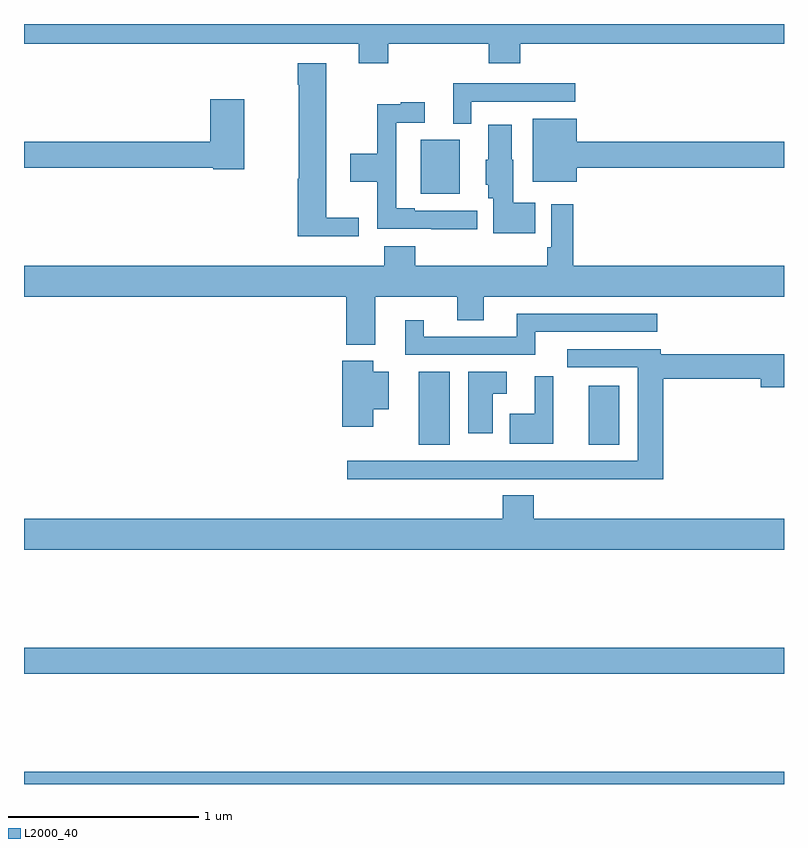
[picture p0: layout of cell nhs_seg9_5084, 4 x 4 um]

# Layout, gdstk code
import gdstk
lib = gdstk.Library(unit=1e-6, precision=1e-09)
def R(c, l, rs):  # rectangles x0, y0, x1, y1
    for r in rs: c.add(gdstk.rectangle(r[:2], r[2:], *l))
def P(c, l, *ps):  # polygons
    for p in ps: c.add(gdstk.Polygon(p, *l))
L2000_40 = (2000, 40)

nhs_seg9_5084 = lib.new_cell('nhs_seg9_5084')
R(nhs_seg9_5084, L2000_40, [(405,1216.5,409,1216.564), (405,1217.08,409,1217.216), (407.078,1218.286,407.242,1218.67), (407.972,1218.286,408.133,1218.595), (407.087,1219.607,407.293,1219.891)])
P(nhs_seg9_5084, L2000_40, [(406.916,1220.396),(407.447,1220.396),(407.447,1220.294),(407.612,1220.294),(407.612,1220.396),(409,1220.396),(409,1220.5),(405,1220.5),(405,1220.396),(406.763,1220.396),(406.763,1220.294),(406.916,1220.294)],
  [(406.762,1219.481),(406.591,1219.481),(406.591,1220.293),(406.442,1220.293),(406.442,1220.18),(406.447,1220.18),(406.447,1219.686),(406.442,1219.686),(406.442,1219.382),(406.762,1219.382)],
  [(407.355,1220.091),(407.902,1220.091),(407.902,1220.187),(407.258,1220.187),(407.258,1219.976),(407.355,1219.976)],
  [(406.158,1220.104),(405.98,1220.104),(405.98,1219.88),(405,1219.88),(405,1219.744),(405.996,1219.744),(405.996,1219.736),(406.158,1219.736)],
  [(407.386,1219.518),(407.056,1219.518),(407.056,1219.531),(406.959,1219.531),(406.959,1219.98),(407.11,1219.98),(407.11,1220.089),(406.982,1220.089),(406.982,1220.078),(406.858,1220.078),(406.858,1219.818),(406.716,1219.818),(406.716,1219.67),(406.858,1219.67),(406.858,1219.422),(407.143,1219.422),(407.143,1219.421),(407.386,1219.421)],
  [(407.908,1219.744),(409,1219.744),(409,1219.88),(407.908,1219.88),(407.908,1220.002),(407.678,1220.002),(407.678,1219.67),(407.908,1219.67)],
  [(407.69,1219.558),(407.575,1219.558),(407.575,1219.785),(407.566,1219.785),(407.566,1219.969),(407.444,1219.969),(407.444,1219.785),(407.429,1219.785),(407.429,1219.653),(407.444,1219.653),(407.444,1219.584),(407.471,1219.584),(407.471,1219.4),(407.69,1219.4)],
  [(406.849,1219.064),(407.279,1219.064),(407.279,1218.94),(407.419,1218.94),(407.419,1219.064),(409,1219.064),(409,1219.228),(407.891,1219.228),(407.891,1219.552),(407.775,1219.552),(407.775,1219.324),(407.755,1219.324),(407.755,1219.228),(407.06,1219.228),(407.06,1219.33),(406.895,1219.33),(406.895,1219.228),(405,1219.228),(405,1219.064),(406.697,1219.064),(406.697,1218.812),(406.849,1218.812)],
  [(407.692,1218.879),(408.334,1218.879),(408.334,1218.975),(407.594,1218.975),(407.594,1218.855),(407.104,1218.855),(407.104,1218.94),(407.006,1218.94),(407.006,1218.759),(407.692,1218.759)],
  [(407.435,1218.105),(407.767,1218.105),(407.767,1218.104),(408.365,1218.104),(408.365,1218.634),(408.878,1218.634),(408.878,1218.587),(409,1218.587),(409,1218.763),(408.352,1218.763),(408.352,1218.789),(407.859,1218.789),(407.859,1218.693),(408.23,1218.693),(408.23,1218.201),(406.982,1218.201),(406.982,1218.202),(406.701,1218.202),(406.701,1218.104),(407.435,1218.104)],
  [(406.837,1218.473),(406.921,1218.473),(406.921,1218.67),(406.837,1218.67),(406.837,1218.727),(406.676,1218.727),(406.676,1218.38),(406.837,1218.38)],
  [(407.467,1218.554),(407.542,1218.554),(407.542,1218.67),(407.339,1218.67),(407.339,1218.345),(407.467,1218.345)],
  [(407.786,1218.646),(407.687,1218.646),(407.687,1218.448),(407.556,1218.448),(407.556,1218.29),(407.786,1218.29)],
  [(409,1217.896),(407.684,1217.896),(407.684,1218.02),(407.519,1218.02),(407.519,1217.896),(405,1217.896),(405,1217.732),(409,1217.732)])

lib.write_gds('nhs_seg9_5084.gds')
